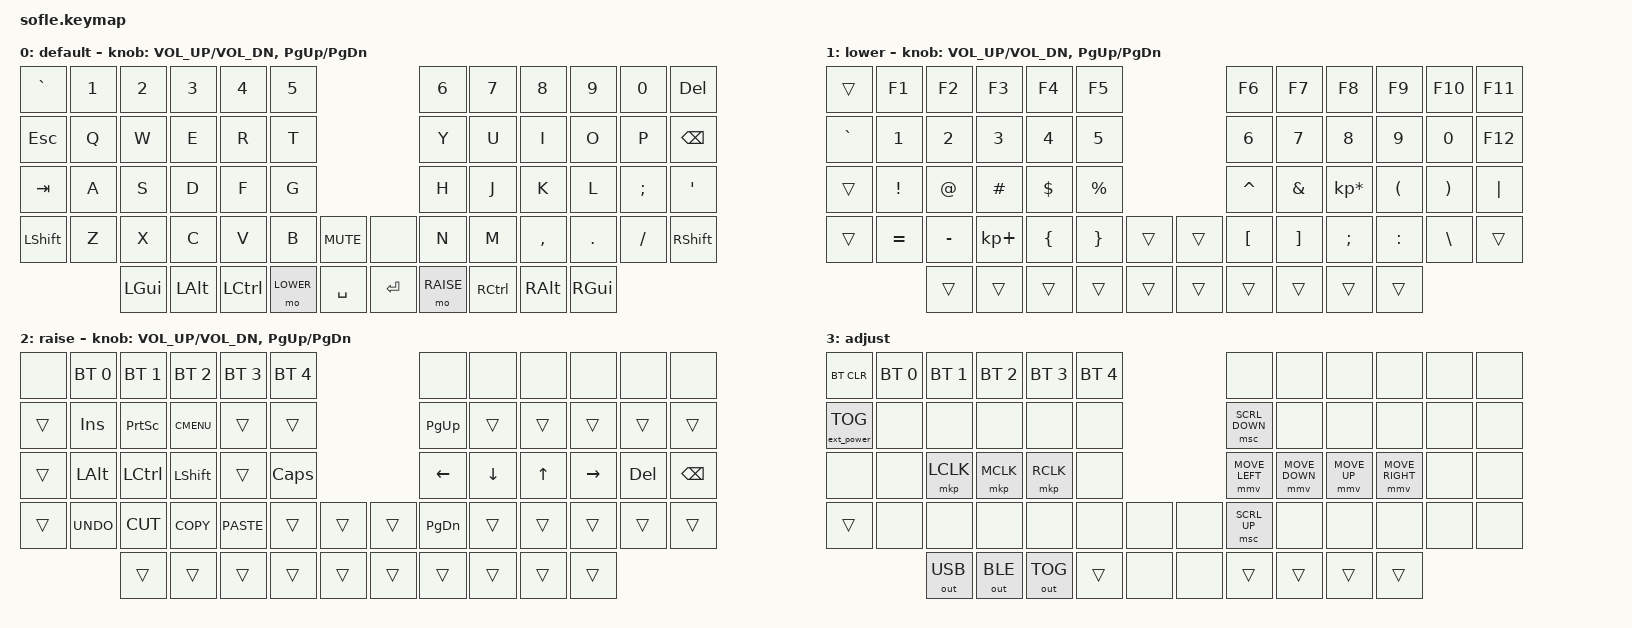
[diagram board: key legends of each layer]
/*
 * Copyright (c) 2020 The ZMK Contributors
 *
 * SPDX-License-Identifier: MIT
 */

#include <behaviors.dtsi>
#include <behaviors/mouse_keys.dtsi>
#include <dt-bindings/zmk/keys.h>
#include <dt-bindings/zmk/bt.h>
#include <dt-bindings/zmk/rgb.h>
#include <dt-bindings/zmk/ext_power.h>
#include <dt-bindings/zmk/outputs.h>
#include <dt-bindings/zmk/pointing.h>

#define BASE 0
#define LOWER 1
#define RAISE 2
#define ADJUST 3

#define ZMK_POINTING_DEFAULT_MOVE_VAL 2500  // default: 600
#define ZMK_POINTING_DEFAULT_SCRL_VAL 20    // default: 10

&mmv {
    // x-input-code = <INPUT_REL_X>;
    // y-input-code = <INPUT_REL_Y>;
    time-to-max-speed-ms = <300>;
    acceleration-exponent = <1>;
};

&msc {
    // x-input-code = <INPUT_REL_HWHEEL>;
    // y-input-code = <INPUT_REL_WHEEL>;
    time-to-max-speed-ms = <300>;
    acceleration-exponent = <1>;
};

/ {

   // Activate ADJUST layer by pressing raise and lower
    conditional_layers {
        compatible = "zmk,conditional-layers";
        adjust_layer {
            if-layers = <LOWER RAISE>;
            then-layer = <ADJUST>;
        };
    };

    keymap {
        compatible = "zmk,keymap";

        default_layer {
            label = "default";
            bindings = <
// ╭─────────────┬─────────────┬─────────────┬─────────────┬─────────────┬─────────────╮                               ╭─────────────┬─────────────┬─────────────┬─────────────┬─────────────┬─────────────╮
      &kp GRAVE       &kp N1        &kp N2       &kp N3         &kp N4       &kp N5                                        &kp N6         &kp N7        &kp N8        &kp N9       &kp N0        &kp DEL
// ├─────────────┼─────────────┼─────────────┼─────────────┼─────────────┼─────────────┤                               ├─────────────┼─────────────┼─────────────┼─────────────┼─────────────┼─────────────┼
      &kp ESC         &kp Q         &kp W        &kp E          &kp R        &kp T                                         &kp Y          &kp U         &kp I         &kp O        &kp P         &kp BSPC
// ├─────────────┼─────────────┼─────────────┼─────────────┼─────────────┼─────────────┤                               ├─────────────┼─────────────┼─────────────┼─────────────┼─────────────┼─────────────┼
      &kp TAB         &kp A         &kp S        &kp D          &kp F        &kp G                                         &kp H          &kp J         &kp K         &kp L        &kp SEMI      &kp SQT
// ├─────────────┼─────────────┼─────────────┼─────────────┼─────────────┼─────────────┤─────────────╮   ╭─────────────├─────────────┼─────────────┼─────────────┼─────────────┼─────────────┼─────────────┼
      &kp LSHFT       &kp Z         &kp X        &kp C          &kp V        &kp B       &kp C_MUTE           &none        &kp N          &kp M         &kp COMMA     &kp DOT      &kp FSLH      &kp RSHFT
// ╰─────────────┴─────────────┴─────────────┼─────────────┼─────────────┼─────────────┤─────────────┤   ├─────────────├─────────────┼─────────────┼─────────────┴─────────────┼─────────────┴─────────────╯
                                    &kp LGUI     &kp LALT       &kp LCTRL    &mo LOWER    &kp SPACE           &kp RET      &mo RAISE      &kp RCTRL     &kp RALT      &kp RGUI
//                             ╰─────────────┴─────────────┴─────────────┴─────────────┼─────────────╯   ╰─────────────┴─────────────┴─────────────┴─────────────┼─────────────╯
            >;
            sensor-bindings = <&inc_dec_kp C_VOL_UP C_VOL_DN &inc_dec_kp PG_UP PG_DN>;
        };

        lower_layer {
            label = "lower";
            bindings = <
// ╭─────────────┬─────────────┬─────────────┬─────────────┬─────────────┬─────────────╮                               ╭─────────────┬─────────────┬─────────────┬─────────────┬─────────────┬─────────────╮
      &trans          &kp F1        &kp F2       &kp F3         &kp F4       &kp F5                                        &kp F6         &kp F7        &kp F8        &kp F9       &kp F10       &kp F11
// ├─────────────┼──────1──────┼──────2──────┼─────3───────┼──────4──────┼─────5───────┤                               ├──────6──────┼──────7──────┼──────8──────┼──────9──────┼─────0───────┼─────────────┼
      &kp GRAVE       &kp N1        &kp N2       &kp N3         &kp N4       &kp N5                                        &kp N6         &kp N7        &kp N8        &kp N9       &kp N0        &kp F12
// ├─────────────┼──────!──────┼──────@──────┼─────#───────┼──────$──────┼─────%───────┤                               ├──────^──────┼──────&──────┼──────*──────┼──────(──────┼─────)───────┼─────|───────┼
      &trans          &kp EXCL      &kp AT       &kp HASH       &kp DLLR     &kp PRCNT                                     &kp CARET      &kp AMPS  &kp KP_MULTIPLY   &kp LPAR     &kp RPAR      &kp PIPE
// ├─────────────┼──────=──────┼──────-──────┼─────+───────┼──────{──────┼─────}───────┤─────────────╮   ╭─────────────├──────[──────┼──────]──────┼──────;──────┼──────:──────┼─────\───────┼─────────────┼
      &trans          &kp EQUAL     &kp MINUS  &kp KP_PLUS      &kp LBRC     &kp RBRC     &trans           &trans          &kp LBKT       &kp RBKT      &kp SEMI      &kp COLON    &kp BSLH      &trans
// ╰─────────────┴─────────────┴─────────────┼─────────────┼─────────────┼─────────────┤─────────────┤   ├─────────────├─────────────┼─────────────┼─────────────┴─────────────┼─────────────┴─────────────╯
                                    &trans       &trans         &trans       &trans       &trans           &trans          &trans         &trans        &trans        &trans
//                             ╰─────────────┴─────────────┴─────────────┴─────────────┼─────────────╯   ╰─────────────┴─────────────┴─────────────┴─────────────┼─────────────╯
            >;
            sensor-bindings = <&inc_dec_kp C_VOL_UP C_VOL_DN &inc_dec_kp PG_UP PG_DN>;
        };

        raise_layer {
            label = "raise";
            bindings = <
// ╭─────────────┬─────────────┬─────────────┬─────────────┬─────────────┬─────────────╮                               ╭─────────────┬─────────────┬─────────────┬─────────────┬─────────────┬─────────────╮
      &none        &bt BT_SEL 0  &bt BT_SEL 1  &bt BT_SEL 2  &bt BT_SEL 3  &bt BT_SEL 4                                    &none          &none         &none         &none        &none         &none
// ├─────────────┼─────────────┼─────────────┼─────────────┼─────────────┼─────────────┤                               ├─────────────┼─────────────┼─────────────┼─────────────┼─────────────┼─────────────┼
      &trans        &kp INS      &kp PSCRN    &kp K_CMENU      &trans         &trans                                       &kp PG_UP       &trans       &trans        &trans       &trans        &trans
// ├─────────────┼─────────────┼─────────────┼─────────────┼─────────────┼─────────────┤                               ├─────────────┼─────────────┼─────────────┼─────────────┼─────────────┼─────────────┼
      &trans          &kp LALT     &kp LCTRL    &kp LSHFT        &trans       &kp CLCK                                       &kp LEFT        &kp DOWN      &kp UP       &kp RIGHT    &kp DEL       &kp BSPC
// ├─────────────┼─────────────┼─────────────┼─────────────┼─────────────┼─────────────┤─────────────╮   ╭─────────────├─────────────┼─────────────┼─────────────┼─────────────┼─────────────┼─────────────┼
      &trans         &kp K_UNDO    &kp K_CUT    &kp K_COPY    &kp K_PASTE     &trans       &trans            &trans         &kp PG_DN       &trans        &trans        &trans       &trans        &trans
// ╰─────────────┴─────────────┴─────────────┼─────────────┼─────────────┼─────────────┤─────────────┤   ├─────────────├─────────────┼─────────────┼─────────────┴─────────────┼─────────────┴─────────────╯
                                    &trans       &trans         &trans       &trans       &trans           &trans          &trans         &trans        &trans        &trans
//                             ╰─────────────┴─────────────┴─────────────┴─────────────┼─────────────╯   ╰─────────────┴─────────────┴─────────────┴─────────────┼─────────────╯
            >;

            sensor-bindings = <&inc_dec_kp C_VOL_UP C_VOL_DN &inc_dec_kp PG_UP PG_DN>;
        };

        adjust_layer {
            label = "adjust";
            bindings = <
// ╭─────────────┬─────────────┬─────────────┬─────────────┬─────────────┬─────────────╮                               ╭─────────────┬─────────────┬─────────────┬─────────────┬─────────────┬─────────────╮
     &bt BT_CLR   &bt BT_SEL 0  &bt BT_SEL 1  &bt BT_SEL 2  &bt BT_SEL 3  &bt BT_SEL 4                                    &none          &none         &none         &none        &none         &none
// ├─────────────┼─────────────┼─────────────┼─────────────┼─────────────┼─────────────┤                               ├─────────────┼─────────────┼─────────────┼─────────────┼─────────────┼─────────────┼
&ext_power EP_TOG     &none       &none          &none          &none        &none                                     &msc SCRL_DOWN    &none         &none         &none        &none         &none
// ├─────────────┼─────────────┼─────────────┼─────────────┼─────────────┼─────────────┤                               ├─────────────┼─────────────┼─────────────┼─────────────┼─────────────┼─────────────┼
        &none         &none       &mkp LCLK      &mkp MCLK      &mkp RCLK    &none                                     &mmv MOVE_LEFT &mmv MOVE_DOWN &mmv MOVE_UP &mmv MOVE_RIGHT &none         &none
// ├─────────────┼─────────────┼─────────────┼─────────────┼─────────────┼─────────────┤─────────────╮   ╭─────────────├─────────────┼─────────────┼─────────────┼─────────────┼─────────────┼─────────────┼
        &trans         &none       &none          &none          &none        &none         &none             &none     &msc SCRL_UP      &none         &none         &none       &none         &none
// ╰─────────────┴─────────────┴─────────────┼─────────────┼─────────────┼─────────────┤─────────────┤   ├─────────────├─────────────┼─────────────┼─────────────┴─────────────┼─────────────┴─────────────╯
                                &out OUT_USB   &out OUT_BLE  &out OUT_TOG    &trans         &none             &none         &trans        &trans        &trans        &trans
//                             ╰─────────────┴─────────────┴─────────────┴─────────────┼─────────────╯   ╰─────────────┴─────────────┴─────────────┴─────────────┼─────────────╯
            >;
        };

    };
};
